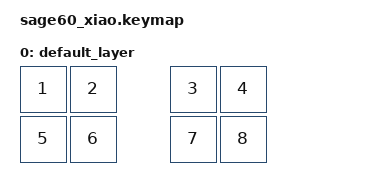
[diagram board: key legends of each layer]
/*
 * Copyright (c) 2020 The ZMK Contributors
 *
 * SPDX-License-Identifier: MIT
 */

#include <behaviors.dtsi>
#include <dt-bindings/zmk/keys.h>
#include <dt-bindings/zmk/outputs.h>
#include <dt-bindings/zmk/bt.h>

#define DEFAULT 0
#define LOWER   1
#define RAISE   2

&mt {
    tapping-term-ms = <500>;
};

/ {
    keymap {
        compatible = "zmk,keymap";

        default_layer {
            bindings = <
                &kp N1 &kp N2           &kp N3 &kp N4
                &kp N5 &kp N6           &kp N7 &kp N8
            >;
        };
    };
};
